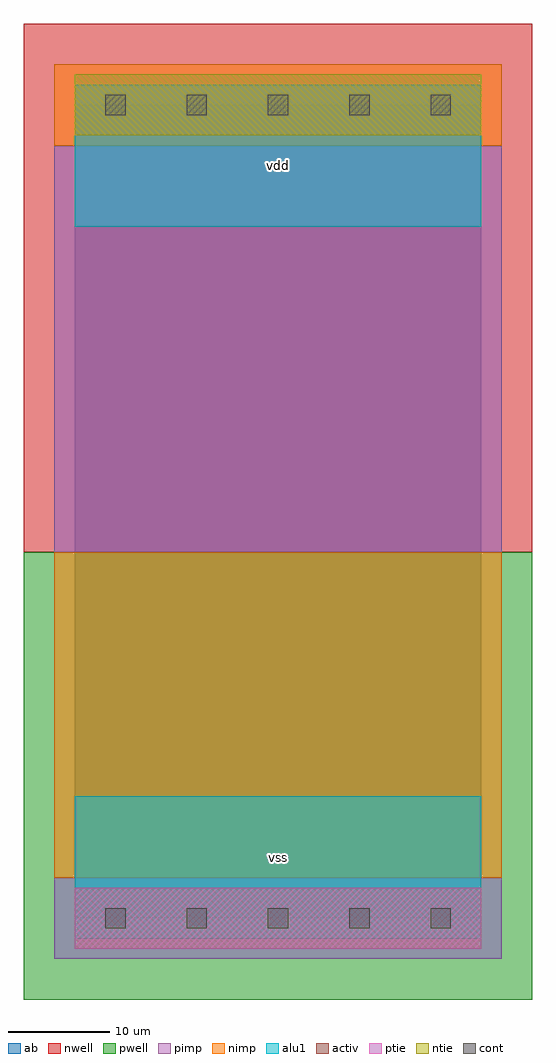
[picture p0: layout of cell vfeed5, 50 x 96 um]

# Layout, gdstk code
import gdstk
lib = gdstk.Library(unit=1e-6, precision=1e-09)
def R(c, l, rs):  # rectangles x0, y0, x1, y1
    for r in rs: c.add(gdstk.rectangle(r[:2], r[2:], *l))
def A(c, l, x, y, w, h, nx, ny, dx, dy):  # array of equal rectangles
    R(c, l, [(x+i*dx, y+j*dy, x+i*dx+w, y+j*dy+h) for i in range(nx) for j in range(ny)])
ntie = (5, 0)
ptie = (6, 0)
cont = (25, 0)
pwell = (41, 0)
nwell = (42, 0)
activ = (43, 0)
pimp = (44, 0)
nimp = (45, 0)
alu1 = (49, 0)
ab = (63, 0)

vfeed5 = lib.new_cell('vfeed5')
R(vfeed5, ntie, [(0,77,40,83)])
R(vfeed5, ptie, [(0,-3,40,3)])
A(vfeed5, cont, 3, -1, 2, 2, 5, 2, 8, 80)
R(vfeed5, pwell, [(-5,-8,45,36)])
R(vfeed5, nwell, [(-5,36,45,88)])
R(vfeed5, activ, [(0,-3,40,3), (0,77,40,83)])
R(vfeed5, pimp, [(-2,-4,42,4), (-2,36,42,76)])
R(vfeed5, nimp, [(-2,4,42,36), (-2,76,42,84)])
R(vfeed5, alu1, [(0,-2,40,12), (0,68,40,82)])
R(vfeed5, ab, [(0,0,40,80)])
vfeed5.add(gdstk.Label('vss', (20,6), layer=49, texttype=0))
vfeed5.add(gdstk.Label('vdd', (20,74), layer=49, texttype=0))

lib.write_gds('vfeed5.gds')
